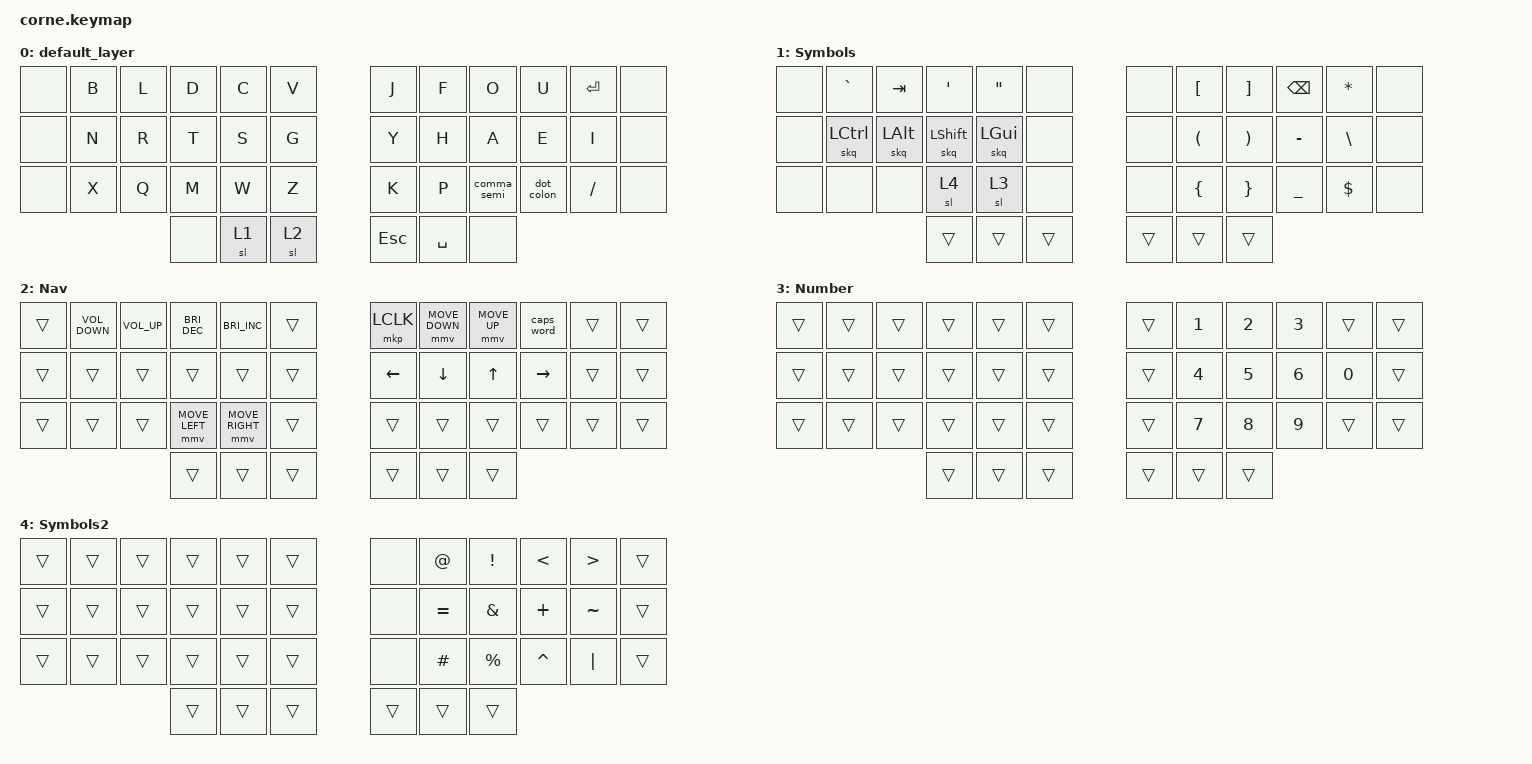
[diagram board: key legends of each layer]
/*
 * Copyright (c) 2020 The ZMK Contributors
 *
 * SPDX-License-Identifier: MIT
 */

#include <behaviors.dtsi>
#include <dt-bindings/zmk/keys.h>
#include <dt-bindings/zmk/pointing.h>

/ {
    behaviors {
        comma_semi: comma_semi_morph {
            compatible = "zmk,behavior-mod-morph";
            #binding-cells = <0>;
            bindings = <&kp COMMA>, <&kp SEMI>;

            mods = <(MOD_LSFT|MOD_RSFT)>;
        };

        dot_colon: dot_colon_morph {
            compatible = "zmk,behavior-mod-morph";
            #binding-cells = <0>;
            bindings = <&kp DOT>, <&kp COLON>;

            mods = <(MOD_LSFT|MOD_RSFT)>;
        };

        skq: sticky_key_quick_release {
            compatible = "zmk,behavior-sticky-key";
            #binding-cells = <1>;
            bindings = <&kp>;
            release-after-ms = <1000>;
            quick-release;
            ignore-modifiers;
        };
    };

    combos {
        compatible = "zmk,combos";

        nav {
            bindings = <&mo 2>;
            key-positions = <37 40>;
            timeout-ms = <35>;
            require-prior-idle-ms = <100>;
            layers = <0>;
        };
    };

    keymap {
        compatible = "zmk,keymap";

        default_layer {
            // -----------------------------------------------------------------------------------------
            // | ESC |  L  |  D  |  C  |  V  |   |  J  |  F  |  O  |  U  |  X  |
            // |  N  |  R  |  T  |  S  |  G  |   |  Y  |  H  |  A  |  E  |  I  |
            // |  B  |  Q  |  M  |  W  |  Z  |   |  K  |  P  | ,/; | ./: |  /  |
            //             | NAV | SYM | SHFT |   | RET | SPC |

            bindings = <
&none  &kp B  &kp L  &kp D  &kp C  &kp V    &kp J       &kp F      &kp O        &kp U       &kp RET    &none
&none  &kp N  &kp R  &kp T  &kp S  &kp G    &kp Y       &kp H      &kp A        &kp E       &kp I      &none
&none  &kp X  &kp Q  &kp M  &kp W  &kp Z    &kp K       &kp P      &comma_semi  &dot_colon  &kp SLASH  &none
                     &none  &sl 1  &sl 2    &kp ESCAPE  &kp SPACE  &none
            >;
        };

        Symbols {
            // -----------------------------------------------------------------------------------------
            // |  `   |  TAB  |  '   |  "   |     |   |     |  [  |  ]  | BSPC |  *  |
            // | sCTL | sALT  | SYM2 | sGUI |     |   |     |  (  |  )  |  -   |  \  |
            // |      |       | NUM  |      |     |   |     |  {  |  }  |  _   |  $  |
            //                |      | held |     |   | ESC | SPC |

            bindings = <
&none  &kp GRAVE   &kp TAB        &kp SINGLE_QUOTE  &kp DOUBLE_QUOTES  &none     &none   &kp LEFT_BRACKET      &kp RIGHT_BRACKET      &kp BACKSPACE  &kp ASTRK      &none
&none  &skq LCTRL  &skq LEFT_ALT  &skq LEFT_SHIFT   &skq LEFT_GUI      &none     &none   &kp LEFT_PARENTHESIS  &kp RIGHT_PARENTHESIS  &kp MINUS      &kp BACKSLASH  &none
&none  &none       &none          &sl 4             &sl 3              &none     &none   &kp LBRC              &kp RIGHT_BRACE        &kp UNDER      &kp DOLLAR     &none
                                  &trans            &trans             &trans    &trans  &trans                &trans
            >;
        };

        Nav {
            // -----------------------------------------------------------------------------------------
            // | VOLDN | VOLUP | BRI- | BRI+ |  5  |   | LCLK | MDN | MUP | CAPS | MB1 |
            // |   1   |   2   | MLFT | MRGT |  5  |   | LFT  | DWN |  UP | RGT  |  0  |
            // |       |       | MLFT | MRGT |     |   |      |     |     |      |  9  |
            //                 |     |     |     |   |     |     |

            bindings = <
&trans  &kp C_VOLUME_DOWN  &kp C_VOLUME_UP  &kp C_BRIGHTNESS_DEC  &kp C_BRIGHTNESS_INC  &trans    &mkp LCLK  &mmv MOVE_DOWN  &mmv MOVE_UP  &caps_word  &trans  &trans
&trans  &trans             &trans           &trans                &trans                &trans    &kp LEFT   &kp DOWN_ARROW  &kp UP_ARROW  &kp RIGHT   &trans  &trans
&trans  &trans             &trans           &mmv MOVE_LEFT        &mmv MOVE_RIGHT       &trans    &trans     &trans          &trans        &trans      &trans  &trans
                                            &trans                &trans                &trans    &trans     &trans          &trans
            >;
        };

        Number {
            // -----------------------------------------------------------------------------------------
            // |     |     |     |     |     |   |     |  1  |  2  |  3  |     |
            // |     |     |     |     |     |   |     |  4  |  5  |  6  |     |
            // |     |     |     |     |     |   |     |  7  |  8  |  9  |  0  |
            //             |     |     |     |   |     |     |

            bindings = <
&trans  &trans  &trans  &trans  &trans  &trans    &trans  &kp N1  &kp N2  &kp N3  &trans  &trans
&trans  &trans  &trans  &trans  &trans  &trans    &trans  &kp N4  &kp N5  &kp N6  &kp N0  &trans
&trans  &trans  &trans  &trans  &trans  &trans    &trans  &kp N7  &kp N8  &kp N9  &trans  &trans
                        &trans  &trans  &trans    &trans  &trans  &trans
            >;
        };

        Symbols2 {
            // -----------------------------------------------------------------------------------------
            // |     |     |     |     |     |   |     |  @  |  !  |  <  |  >  |
            // |     |     |     |     |     |   |     |  =  |  &  |  +  |  ~  |
            // |     |     |     |     |     |   |     |  #  |  %  |  ^  |  |  |
            //             |     |     |     |   |     |     |

            bindings = <
&trans  &trans  &trans  &trans  &trans  &trans    &none   &kp AT     &kp EXCL     &kp LESS_THAN  &kp GREATER_THAN  &trans
&trans  &trans  &trans  &trans  &trans  &trans    &none   &kp EQUAL  &kp AMPS     &kp PLUS       &kp TILDE         &trans
&trans  &trans  &trans  &trans  &trans  &trans    &none   &kp POUND  &kp PERCENT  &kp CARET      &kp PIPE          &trans
                        &trans  &trans  &trans    &trans  &trans     &trans
            >;
        };
    };

    conditional_layers { compatible = "zmk,conditional-layers"; };
};
